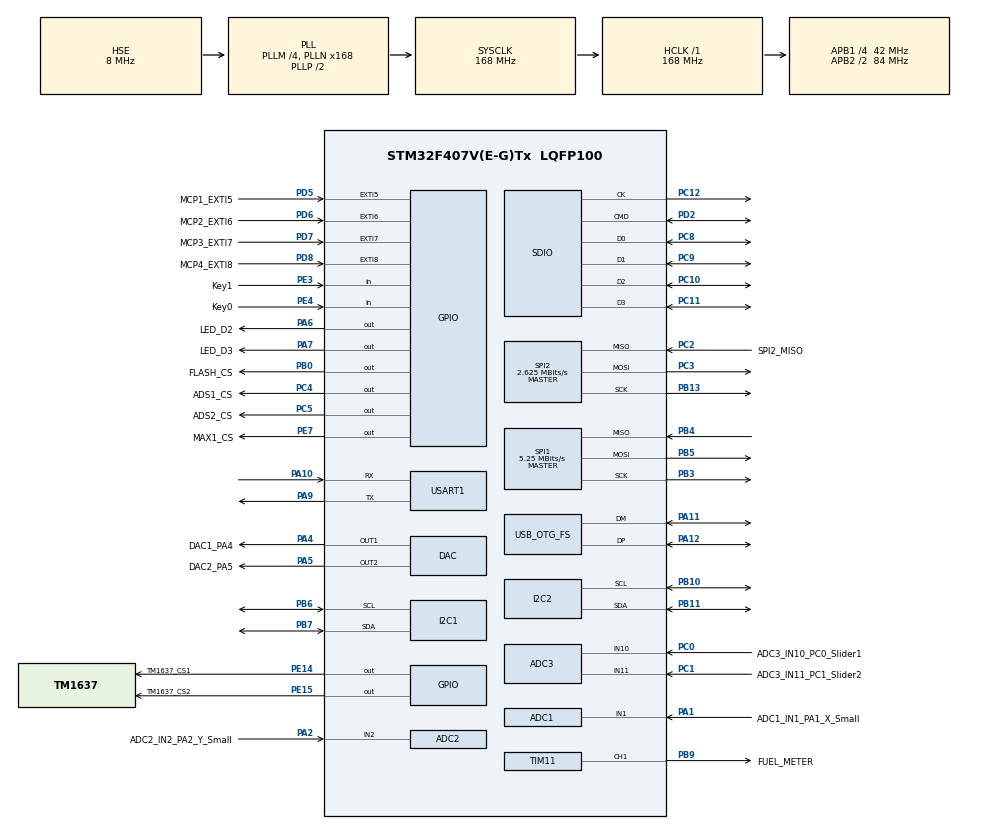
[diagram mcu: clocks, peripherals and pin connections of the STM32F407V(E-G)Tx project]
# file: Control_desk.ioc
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ADC1.Channel-32\#ChannelRegularConversion=ADC_CHANNEL_1
ADC1.ClockPrescaler=ADC_CLOCK_SYNC_PCLK_DIV4
ADC1.ContinuousConvMode=ENABLE
ADC1.NbrOfConversion=1
ADC1.NbrOfConversionFlag=1
ADC1.Rank-32\#ChannelRegularConversion=1
ADC1.SamplingTime-32\#ChannelRegularConversion=ADC_SAMPLETIME_3CYCLES
ADC1.master=1
ADC2.Channel-45\#ChannelRegularConversion=ADC_CHANNEL_2
ADC2.ClockPrescaler=ADC_CLOCK_SYNC_PCLK_DIV4
ADC2.ContinuousConvMode=ENABLE
ADC2.NbrOfConversionFlag=1
ADC2.Rank-45\#ChannelRegularConversion=1
ADC2.SamplingTime-45\#ChannelRegularConversion=ADC_SAMPLETIME_3CYCLES
ADC3.Channel-18\#ChannelRegularConversion=ADC_CHANNEL_10
ADC3.ClockPrescaler=ADC_CLOCK_SYNC_PCLK_DIV4
ADC3.ContinuousConvMode=ENABLE
ADC3.NbrOfConversionFlag=1
ADC3.Rank-18\#ChannelRegularConversion=1
ADC3.SamplingTime-18\#ChannelRegularConversion=ADC_SAMPLETIME_3CYCLES
FATFS.BSP.number=1
FATFS0.BSP.STBoard=false
FATFS0.BSP.api=Unknown
FATFS0.BSP.i2caddr=0
FATFS0.BSP.instance=PE4
FATFS0.BSP.ip=GPIO
FATFS0.BSP.mode=Input
FATFS0.BSP.name=Detect_SDIO
FATFS0.BSP.solution=PE4
I2C1.I2C_Mode=I2C_Fast
IWDG.Prescaler=IWDG_PRESCALER_16
IWDG.Reload=4095
Mcu.Family=STM32F4
Mcu.Name=STM32F407V(E-G)Tx
Mcu.Package=LQFP100
NVIC.ADC_IRQn=true\:3\:2\:true\:false\:true\:true
NVIC.EXTI9_5_IRQn=true\:3\:3\:true\:false\:true\:true
NVIC.I2C1_EV_IRQn=true\:2\:1\:true\:false\:true\:true
NVIC.I2C2_EV_IRQn=true\:2\:1\:true\:false\:true\:true
NVIC.OTG_FS_IRQn=true\:0\:0\:false\:false\:true\:false
NVIC.PriorityGroup=NVIC_PRIORITYGROUP_2
NVIC.RCC_IRQn=true\:2\:3\:true\:false\:true\:true
NVIC.SDIO_IRQn=true\:1\:0\:true\:false\:true\:true
NVIC.SPI1_IRQn=true\:2\:1\:true\:false\:true\:true
NVIC.SPI2_IRQn=true\:2\:1\:true\:false\:true\:true
NVIC.TIM8_TRG_COM_TIM14_IRQn=true\:0\:0\:true\:false\:true\:false
NVIC.TIM8_UP_TIM13_IRQn=true\:3\:1\:true\:false\:true\:true
NVIC.TimeBase=TIM8_TRG_COM_TIM14_IRQn
NVIC.TimeBaseIP=TIM14
NVIC.USART1_IRQn=true\:0\:0\:false\:false\:true\:true
PA0-WKUP.Mode=SYS_WakeUp0
PA0-WKUP.Signal=SYS_WKUP
PA1.GPIO_Label=ADC1_IN1_PA1_X_Small
PA1.Signal=SharedAnalog_PA1
PA10.Mode=Asynchronous
PA10.Signal=USART1_RX
PA11.Mode=Device_Only
PA11.Signal=USB_OTG_FS_DM
PA12.Mode=Device_Only
PA12.Signal=USB_OTG_FS_DP
PA13.Mode=Serial_Wire
PA13.Signal=SYS_JTMS-SWDIO
PA14.Mode=Serial_Wire
PA14.Signal=SYS_JTCK-SWCLK
PA2.GPIO_Label=ADC2_IN2_PA2_Y_Small
PA2.Signal=SharedAnalog_PA2
PA4.GPIO_Label=DAC1_PA4
PA4.Signal=SharedAnalog_PA4
PA5.GPIO_Label=DAC2_PA5
PA5.Signal=SharedAnalog_PA5
PA6.GPIO_Label=LED_D2
PA6.GPIO_PuPd=GPIO_PULLUP
PA6.PinState=GPIO_PIN_SET
PA6.Signal=GPIO_Output
PA7.GPIO_Label=LED_D3
PA7.GPIO_ModeDefaultOutputPP=GPIO_MODE_OUTPUT_PP
PA7.GPIO_PuPd=GPIO_PULLUP
PA7.PinState=GPIO_PIN_SET
PA7.Signal=GPIO_Output
PA9.Mode=Asynchronous
PA9.Signal=USART1_TX
PB0.GPIO_Label=FLASH_CS
PB0.GPIO_PuPd=GPIO_PULLUP
PB0.GPIO_Speed=GPIO_SPEED_FREQ_VERY_HIGH
PB0.PinState=GPIO_PIN_SET
PB0.Signal=GPIO_Output
PB10.Mode=I2C
PB10.Signal=I2C2_SCL
PB11.Mode=I2C
PB11.Signal=I2C2_SDA
PB13.Mode=Full_Duplex_Master
PB13.Signal=SPI2_SCK
PB3.Mode=Full_Duplex_Master
PB3.Signal=SPI1_SCK
PB4.Mode=Full_Duplex_Master
PB4.Signal=SPI1_MISO
PB5.GPIO_PuPd=GPIO_PULLUP
PB5.Mode=Full_Duplex_Master
PB5.Signal=SPI1_MOSI
PB6.Mode=I2C
PB6.Signal=I2C1_SCL
PB7.Mode=I2C
PB7.Signal=I2C1_SDA
PB9.GPIO_Label=FUEL_METER
PB9.GPIO_Speed=GPIO_SPEED_FREQ_LOW
PB9.Signal=S_TIM11_CH1
PC0.GPIO_Label=ADC3_IN10_PC0_Slider1
PC0.Signal=SharedAnalog_PC0
PC1.GPIO_Label=ADC3_IN11_PC1_Slider2
PC1.Signal=SharedAnalog_PC1
PC10.Mode=SD_4_bits_Wide_bus
PC10.Signal=SDIO_D2
PC11.Mode=SD_4_bits_Wide_bus
PC11.Signal=SDIO_D3
PC12.Mode=SD_4_bits_Wide_bus
PC12.Signal=SDIO_CK
PC14-OSC32_IN.Mode=LSE-External-Oscillator
PC14-OSC32_IN.Signal=RCC_OSC32_IN
PC15-OSC32_OUT.Mode=LSE-External-Oscillator
PC15-OSC32_OUT.Signal=RCC_OSC32_OUT
PC2.GPIO_Label=SPI2_MISO
PC2.GPIO_PuPd=GPIO_PULLUP
PC2.Mode=Full_Duplex_Master
PC2.Signal=SPI2_MISO
PC3.GPIO_PuPd=GPIO_PULLUP
PC3.Mode=Full_Duplex_Master
PC3.Signal=SPI2_MOSI
PC4.GPIO_Label=ADS1_CS
PC4.GPIO_PuPd=GPIO_PULLUP
PC4.GPIO_Speed=GPIO_SPEED_FREQ_VERY_HIGH
PC4.PinState=GPIO_PIN_SET
PC4.Signal=GPIO_Output
PC5.GPIO_Label=ADS2_CS
PC5.GPIO_PuPd=GPIO_PULLUP
PC5.GPIO_Speed=GPIO_SPEED_FREQ_VERY_HIGH
PC5.PinState=GPIO_PIN_SET
PC5.Signal=GPIO_Output
PC8.Mode=SD_4_bits_Wide_bus
PC8.Signal=SDIO_D0
PC9.Mode=SD_4_bits_Wide_bus
PC9.Signal=SDIO_D1
PD2.Mode=SD_4_bits_Wide_bus
PD2.Signal=SDIO_CMD
PD5.GPIO_Label=MCP1_EXTI5
PD5.GPIO_PuPd=GPIO_PULLDOWN
PD5.Signal=GPXTI5
PD6.GPIO_Label=MCP2_EXTI6
PD6.GPIO_PuPd=GPIO_PULLDOWN
PD6.Signal=GPXTI6
PD7.GPIO_Label=MCP3_EXTI7
PD7.GPIO_PuPd=GPIO_PULLDOWN
PD7.Signal=GPXTI7
PD8.GPIO_Label=MCP4_EXTI8
PD8.GPIO_PuPd=GPIO_PULLDOWN
PD8.Signal=GPXTI8
PE14.GPIO_Label=TM1637_CS1
PE14.GPIO_Speed=GPIO_SPEED_FREQ_VERY_HIGH
PE14.Signal=GPIO_Output
PE15.GPIO_Label=TM1637_CS2
PE15.GPIO_Speed=GPIO_SPEED_FREQ_VERY_HIGH
PE15.Signal=GPIO_Output
PE3.GPIO_Label=Key1
PE3.GPIO_PuPd=GPIO_PULLUP
PE3.Signal=GPIO_Input
PE4.GPIO_Label=Key0
PE4.GPIO_PuPd=GPIO_PULLUP
PE4.Signal=GPIO_Input
PE7.GPIO_Label=MAX1_CS
PE7.GPIO_PuPd=GPIO_PULLUP
PE7.GPIO_Speed=GPIO_SPEED_FREQ_VERY_HIGH
PE7.PinState=GPIO_PIN_SET
PE7.Signal=GPIO_Output
PH0-OSC_IN.Mode=HSE-External-Oscillator
PH0-OSC_IN.Signal=RCC_OSC_IN
PH1-OSC_OUT.Mode=HSE-External-Oscillator
PH1-OSC_OUT.Signal=RCC_OSC_OUT
ProjectManager.HeapSize=0x2000
ProjectManager.StackSize=0x4000
ProjectManager.TargetToolchain=Makefile
RCC.48MHZClocksFreq_Value=48000000
RCC.AHBFreq_Value=168000000
RCC.APB1CLKDivider=RCC_HCLK_DIV4
RCC.APB1Freq_Value=42000000
RCC.APB1TimFreq_Value=84000000
RCC.APB2CLKDivider=RCC_HCLK_DIV2
RCC.APB2Freq_Value=84000000
RCC.APB2TimFreq_Value=168000000
RCC.CortexFreq_Value=168000000
RCC.HCLKFreq_Value=168000000
RCC.HSE_VALUE=8000000
RCC.HSI_VALUE=16000000
RCC.LSE_Timout=2000
RCC.PLLM=4
RCC.PLLN=168
RCC.PLLQ=7
RCC.RCC_RTC_Clock_Source=RCC_RTCCLKSOURCE_LSE
RCC.RCC_RTC_Clock_SourceVirtual=RCC_RTCCLKSOURCE_LSE
RCC.SYSCLKFreq_VALUE=168000000
RCC.SYSCLKSource=RCC_SYSCLKSOURCE_PLLCLK
RCC.VCOOutputFreq_Value=336000000
RTC.Hours=12
RTC.Year=18
SH.S_TIM11_CH1.0=TIM11_CH1,PWM Generation1 CH1
SH.SharedAnalog_PA1.0=GPIO_Analog
SH.SharedAnalog_PA1.1=ADC1_IN1,IN1
SH.SharedAnalog_PA2.0=GPIO_Analog
SH.SharedAnalog_PA2.1=ADC2_IN2,IN2
SH.SharedAnalog_PA4.0=GPIO_Analog
SH.SharedAnalog_PA4.1=DAC_OUT1,DAC_OUT1
SH.SharedAnalog_PA5.0=GPIO_Analog
SH.SharedAnalog_PA5.1=DAC_OUT2,DAC_OUT2
SH.SharedAnalog_PC0.0=GPIO_Analog
SH.SharedAnalog_PC0.1=ADC3_IN10,IN10
SH.SharedAnalog_PC1.0=GPIO_Analog
SH.SharedAnalog_PC1.1=ADC3_IN11,IN11
SPI1.BaudRatePrescaler=SPI_BAUDRATEPRESCALER_16
SPI1.CalculateBaudRate=5.25 MBits/s
SPI1.DataSize=SPI_DATASIZE_16BIT
SPI1.Direction=SPI_DIRECTION_2LINES
SPI1.Mode=SPI_MODE_MASTER
SPI1.VirtualType=VM_MASTER
SPI2.BaudRatePrescaler=SPI_BAUDRATEPRESCALER_16
SPI2.CLKPhase=SPI_PHASE_2EDGE
SPI2.CalculateBaudRate=2.625 MBits/s
SPI2.DataSize=SPI_DATASIZE_16BIT
SPI2.Direction=SPI_DIRECTION_2LINES
SPI2.Mode=SPI_MODE_MASTER
SPI2.VirtualType=VM_MASTER
TIM11.Channel=TIM_CHANNEL_1
TIM11.Period=10000
TIM11.Prescaler=1679
TIM11.Pulse=5000
TIM13.ClockDivision=TIM_CLOCKDIVISION_DIV1
TIM13.Period=10
TIM13.Prescaler=8399
USART1.VirtualMode=VM_ASYNC
USB_DEVICE.CLASS_NAME_FS=CUSTOMHID
USB_DEVICE.PID_CUSTOMHID_FS=22352
USB_DEVICE.PRODUCT_STRING_CUSTOMHID_FS=StarShip Control Desk
USB_DEVICE.SERIALNUMBER_STRING_CUSTOMHID_FS=000000000001
USB_DEVICE.USBD_CUSTOMHID_OUTREPORT_BUF_SIZE-CUSTOM_HID_FS=64
USB_DEVICE.USBD_CUSTOM_HID_REPORT_DESC_SIZE-CUSTOM_HID_FS=240
USB_DEVICE.USBD_MAX_NUM_INTERFACES-CUSTOM_HID_FS=2
USB_DEVICE.VirtualMode-CUSTOM_HID_FS=CustomHid
USB_DEVICE.VirtualModeFS=Custom_Hid_FS
USB_OTG_FS.VirtualMode=Device_Only
VP_FATFS_VS_SDIO.Mode=SDIO
VP_IWDG_VS_IWDG.Mode=IWDG_Activate
VP_RTC_VS_RTC_Activate.Mode=RTC_Enabled
VP_RTC_VS_RTC_Calendar.Mode=RTC_Calendar
VP_SYS_VS_tim14.Mode=TIM14
VP_TIM11_VS_ClockSourceINT.Mode=Enable_Timer
VP_TIM13_VS_ClockSourceINT.Mode=Enable_Timer
VP_USB_DEVICE_VS_USB_DEVICE_CUSTOM_HID_FS.Mode=CUSTOM_HID_FS
board=Control_desk

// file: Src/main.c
/* USER CODE BEGIN Header */
/**
  ******************************************************************************
  * @file           : main.c
  * @brief          : Main program body
  ******************************************************************************
  * This notice applies to any and all portions of this file
  * that are not between comment pairs USER CODE BEGIN and
  * USER CODE END. Other portions of this file, whether
  * inserted by the user or by software development tools
  * are owned by their respective copyright owners.
  *
  * Copyright (c) 2018 STMicroelectronics International N.V.
  * All rights reserved.
  *
  * Redistribution and use in source and binary forms, with or without
  * modification, are permitted, provided that the following conditions are met:
  *
  * 1. Redistribution of source code must retain the above copyright notice,
  *    this list of conditions and the following disclaimer.
  * 2. Redistributions in binary form must reproduce the above copyright notice,
  *    this list of conditions and the following disclaimer in the documentation
  *    and/or other materials provided with the distribution.
  * 3. Neither the name of STMicroelectronics nor the names of other
  *    contributors to this software may be used to endorse or promote products
  *    derived from this software without specific written permission.
  * 4. This software, including modifications and/or derivative works of this
  *    software, must execute solely and exclusively on microcontroller or
  *    microprocessor devices manufactured by or for STMicroelectronics.
  * 5. Redistribution and use of this software other than as permitted under
  *    this license is void and will automatically terminate your rights under
  *    this license.
  *
  * THIS SOFTWARE IS PROVIDED BY STMICROELECTRONICS AND CONTRIBUTORS "AS IS"
  * AND ANY EXPRESS, IMPLIED OR STATUTORY WARRANTIES, INCLUDING, BUT NOT
  * LIMITED TO, THE IMPLIED WARRANTIES OF MERCHANTABILITY, FITNESS FOR A
  * PARTICULAR PURPOSE AND NON-INFRINGEMENT OF THIRD PARTY INTELLECTUAL PROPERTY
  * RIGHTS ARE DISCLAIMED TO THE FULLEST EXTENT PERMITTED BY LAW. IN NO EVENT
  * SHALL STMICROELECTRONICS OR CONTRIBUTORS BE LIABLE FOR ANY DIRECT, INDIRECT,
  * INCIDENTAL, SPECIAL, EXEMPLARY, OR CONSEQUENTIAL DAMAGES (INCLUDING, BUT NOT
  * LIMITED TO, PROCUREMENT OF SUBSTITUTE GOODS OR SERVICES; LOSS OF USE, DATA,
  * OR PROFITS; OR BUSINESS INTERRUPTION) HOWEVER CAUSED AND ON ANY THEORY OF
  * LIABILITY, WHETHER IN CONTRACT, STRICT LIABILITY, OR TORT (INCLUDING
  * NEGLIGENCE OR OTHERWISE) ARISING IN ANY WAY OUT OF THE USE OF THIS SOFTWARE,
  * EVEN IF ADVISED OF THE POSSIBILITY OF SUCH DAMAGE.
  *
  ******************************************************************************
  */
/* USER CODE END Header */

#include "main.h"
#include "adc.h"
#include "dac.h"
#include "fatfs.h"
#include "i2c.h"
#include "iwdg.h"
#include "rtc.h"
#include "sdio.h"
#include "spi.h"
#include "tim.h"
#include "usart.h"
#include "usb_device.h"
#include "gpio.h"

/* USER CODE BEGIN Includes */

#include "ADS1118.h"
#include "usbd_custom_hid_if.h"
#include "proga.h"
#include "mcp23017.h"
#include "max7219.h"
#include "pcf8574.h"
#include "tm1637.h"
#include "fuel_meter.h"
/* USER CODE END Includes */

/* USER CODE BEGIN PV */

//volatile uint32_t Timer13_s = 0;
volatile uint8_t MainDelayUpdateFlag = 0;
volatile uint32_t Timer13;
/* USER CODE END PV */

void SystemClock_Config(void);

int main(void)
{

  /* MCU Configuration--------------------------------------------------------*/

  /* Reset of all peripherals, Initializes the Flash interface and the Systick. */
  HAL_Init();

  /* Configure the system clock */
  SystemClock_Config();

  /* Initialize all configured peripherals */
  MX_GPIO_Init();
  MX_ADC1_Init();
  MX_ADC2_Init();
  MX_ADC3_Init();
  MX_DAC_Init();
  MX_I2C1_Init();
  MX_I2C2_Init();
//  MX_IWDG_Init();
  MX_RTC_Init();
  MX_SDIO_SD_Init();
  MX_SPI1_Init();
  MX_SPI2_Init();
  MX_USB_DEVICE_Init();
  MX_FATFS_Init();
  MX_USART1_UART_Init();
  MX_TIM13_Init();
  MX_TIM11_Init();
  /* USER CODE BEGIN 2 */

  HAL_Delay(50); // ms wait powerup time for peripherals

  HID_REPORT_Init();
  ADS_UserInit();
  MCP_UserInit();
  PCF8574_UserInit();
  TM1637_UserInit();
  MAX7219_UserInit();
  FuelMeter_UserInit();

  MX_IWDG_Init();
  /* USER CODE END 2 */

  /* Infinite loop */
  /* USER CODE BEGIN WHILE */

  HAL_TIM_Base_Start_IT(&htim13);

  uint16_t timer1 = 0;
  while (1)
  {
	//Built in ADC
	ADC_Update();

	//external GPIO IO extender
	MCP23017_Update();

	//ADS1118 external ADC
    ADS1118_Update();

    //Update 4x LED Displays
    MAX7219_Update();

	//Update Symbolic LCD
    PCF8574_Update();

    //Update LCD Watch
    TM1637_Update();

	//USB Report
	USB_Update();

	timer1++;
	//if(MainDelayUpdateFlag)	//delay 200 msec
	if(timer1 > 10000)
	{
		timer1 = 0;

		//reset flag
		MainDelayUpdateFlag = 0;
		// Led flashing
		HAL_GPIO_TogglePin(LED_D2_GPIO_Port, LED_D2_Pin);
		//Watch dog Jonny
		HAL_IWDG_Refresh(&hiwdg);

		//Update FuelMeter
		FuelMeter_Update();
	}
    /* USER CODE END WHILE */

  }
}

void SystemClock_Config(void)
{
  RCC_OscInitTypeDef RCC_OscInitStruct = {0};
  RCC_ClkInitTypeDef RCC_ClkInitStruct = {0};
  RCC_PeriphCLKInitTypeDef PeriphClkInitStruct = {0};

  /**Configure the main internal regulator output voltage
  */
  __HAL_RCC_PWR_CLK_ENABLE();
  __HAL_PWR_VOLTAGESCALING_CONFIG(PWR_REGULATOR_VOLTAGE_SCALE1);
  /**Initializes the CPU, AHB and APB busses clocks
  */
  RCC_OscInitStruct.OscillatorType = RCC_OSCILLATORTYPE_LSI|RCC_OSCILLATORTYPE_HSE
                              |RCC_OSCILLATORTYPE_LSE;
  RCC_OscInitStruct.HSEState = RCC_HSE_ON;
  RCC_OscInitStruct.LSEState = RCC_LSE_ON;
  RCC_OscInitStruct.LSIState = RCC_LSI_ON;
  RCC_OscInitStruct.PLL.PLLState = RCC_PLL_ON;
  RCC_OscInitStruct.PLL.PLLSource = RCC_PLLSOURCE_HSE;
  RCC_OscInitStruct.PLL.PLLM = 4;
  RCC_OscInitStruct.PLL.PLLN = 168;
  RCC_OscInitStruct.PLL.PLLP = RCC_PLLP_DIV2;
  RCC_OscInitStruct.PLL.PLLQ = 7;
  if (HAL_RCC_OscConfig(&RCC_OscInitStruct) != HAL_OK)
  {
    Error_Handler();
  }
  /**Initializes the CPU, AHB and APB busses clocks
  */
  RCC_ClkInitStruct.ClockType = RCC_CLOCKTYPE_HCLK|RCC_CLOCKTYPE_SYSCLK
                              |RCC_CLOCKTYPE_PCLK1|RCC_CLOCKTYPE_PCLK2;
  RCC_ClkInitStruct.SYSCLKSource = RCC_SYSCLKSOURCE_PLLCLK;
  RCC_ClkInitStruct.AHBCLKDivider = RCC_SYSCLK_DIV1;
  RCC_ClkInitStruct.APB1CLKDivider = RCC_HCLK_DIV4;
  RCC_ClkInitStruct.APB2CLKDivider = RCC_HCLK_DIV2;

  if (HAL_RCC_ClockConfig(&RCC_ClkInitStruct, FLASH_LATENCY_5) != HAL_OK)
  {
    Error_Handler();
  }
  PeriphClkInitStruct.PeriphClockSelection = RCC_PERIPHCLK_RTC;
  PeriphClkInitStruct.RTCClockSelection = RCC_RTCCLKSOURCE_LSE;
  if (HAL_RCCEx_PeriphCLKConfig(&PeriphClkInitStruct) != HAL_OK)
  {
    Error_Handler();
  }
}

void HAL_TIM_PeriodElapsedCallback(TIM_HandleTypeDef *htim)
{
  if (htim->Instance == TIM14) {
    HAL_IncTick();
  }
  /* USER CODE BEGIN Callback 1 */
  if (htim->Instance == TIM13) {
	  //tim13 update every 1ms callback
	  Timer13++;

      if (Timer13 % 5 == 0)
	  {
    	  PCF8574DelayUpdateFlag = 1;
	  }
      if (Timer13 % 200 == 0)
	  {
		  MainDelayUpdateFlag = 1;
	  }
      if (Timer13 % 30 == 0)
	  {
		  MAX7219DelayUpdate = 1;
	  }
  }
  /* USER CODE END Callback 1 */
}

void Error_Handler(void)
{
}

/************************ (C) COPYRIGHT STMicroelectronics *****END OF FILE****/
